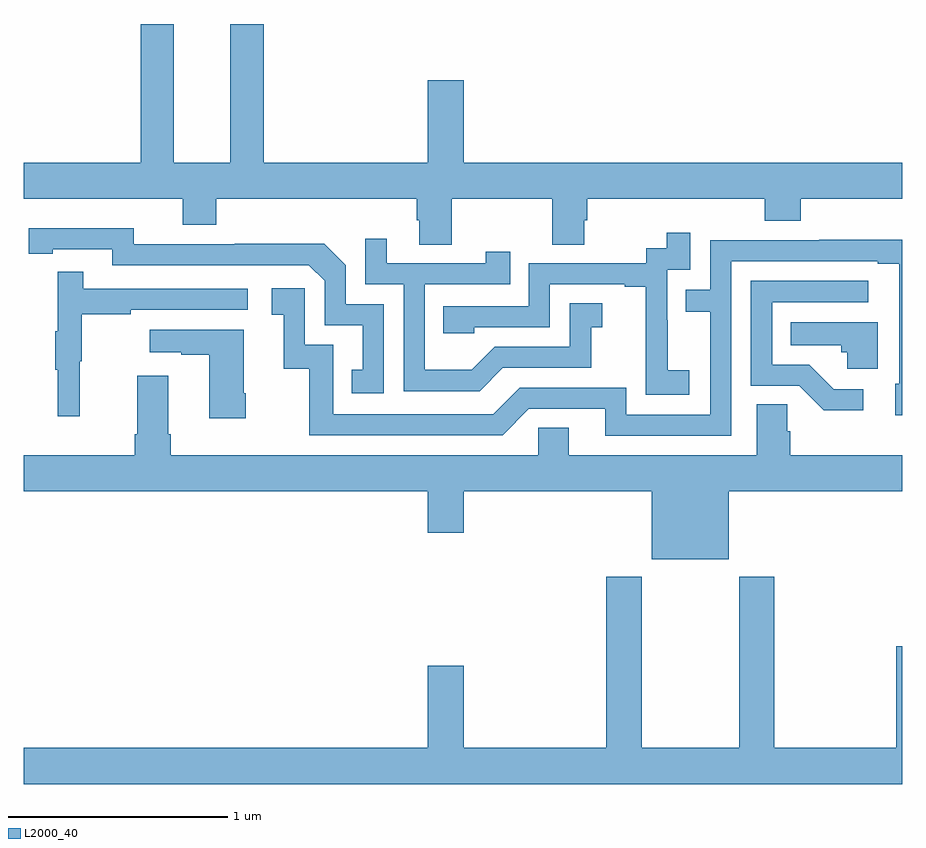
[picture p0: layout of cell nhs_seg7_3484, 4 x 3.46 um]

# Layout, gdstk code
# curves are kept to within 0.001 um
import gdstk
lib = gdstk.Library(unit=1e-6, precision=1e-09)
def P(c, l, *ps):  # polygons
    for p in ps: c.add(gdstk.Polygon(p, *l))
L2000_40 = (2000, 40)

nhs_seg7_3484 = lib.new_cell('nhs_seg7_3484')
P(nhs_seg7_3484, L2000_40, [(332.949,1079.204),(333.406,1079.204),(333.406,1078.996),(333.553,1078.996),(333.553,1079.106),(333.566,1079.106),(333.566,1079.204),(334.373,1079.204),(334.373,1079.105),(334.538,1079.105),(334.538,1079.204),(335,1079.204),(335,1079.368),(333.004,1079.368),(333.004,1079.743),(332.84,1079.743),(332.84,1079.368),(332.093,1079.368),(332.093,1080),(331.94,1080),(331.94,1079.368),(331.684,1079.368),(331.684,1080),(331.532,1080),(331.532,1079.368),(331,1079.368),(331,1079.204),(331.724,1079.204),(331.724,1079.087),(331.877,1079.087),(331.877,1079.204),(332.789,1079.204),(332.789,1079.106),(332.801,1079.106),(332.801,1078.996),(332.949,1078.996)],
  [(332.64,1078.725),(332.466,1078.725),(332.466,1078.902),(332.368,1079),(331.96,1079),(331.96,1078.998),(331.5,1078.998),(331.5,1079.071),(331.024,1079.07),(331.024,1078.954),(331.132,1078.954),(331.132,1078.974),(331.404,1078.974),(331.404,1078.902),(332.298,1078.902),(332.37,1078.83),(332.37,1078.629),(332.543,1078.629),(332.543,1078.425),(332.494,1078.425),(332.494,1078.32),(332.64,1078.32)],
  [(334.03,1078.423),(333.932,1078.423),(333.932,1078.652),(333.93,1078.652),(333.93,1078.881),(334.035,1078.881),(334.035,1079.05),(333.927,1079.05),(333.927,1078.98),(333.834,1078.98),(333.834,1078.911),(333.3,1078.911),(333.3,1078.716),(332.911,1078.716),(332.911,1078.593),(333.051,1078.593),(333.051,1078.62),(333.396,1078.62),(333.396,1078.815),(333.737,1078.815),(333.737,1078.803),(333.833,1078.803),(333.833,1078.519),(333.832,1078.519),(333.832,1078.313),(334.03,1078.313)],
  [(333.181,1078.434),(333.585,1078.434),(333.585,1078.619),(333.634,1078.619),(333.634,1078.729),(333.486,1078.729),(333.486,1078.53),(333.144,1078.53),(333.04,1078.426),(332.826,1078.426),(332.826,1078.815),(333.215,1078.815),(333.215,1078.963),(333.104,1078.963),(333.104,1078.911),(332.653,1078.911),(332.653,1079.023),(332.556,1079.023),(332.556,1078.815),(332.73,1078.815),(332.73,1078.329),(333.076,1078.329)],
  [(334.221,1078.92),(334.889,1078.92),(334.889,1078.908),(334.986,1078.908),(334.986,1078.362),(334.967,1078.362),(334.967,1078.218),(335,1078.218),(335,1079.018),(334.621,1079.018),(334.621,1079.016),(334.125,1079.016),(334.125,1078.791),(334.015,1078.791),(334.015,1078.69),(334.125,1078.69),(334.125,1078.221),(333.744,1078.221),(333.744,1078.344),(333.258,1078.344),(333.138,1078.224),(332.409,1078.224),(332.409,1078.539),(332.28,1078.539),(332.28,1078.798),(332.13,1078.798),(332.13,1078.677),(332.183,1078.677),(332.183,1078.431),(332.301,1078.431),(332.301,1078.128),(333.18,1078.128),(333.3,1078.248),(333.647,1078.248),(333.647,1078.125),(334.221,1078.125)],
  [(331.256,1078.464),(331.264,1078.464),(331.264,1078.678),(331.487,1078.678),(331.487,1078.698),(332.02,1078.698),(332.02,1078.794),(331.271,1078.794),(331.271,1078.873),(331.154,1078.873),(331.154,1078.601),(331.143,1078.601),(331.143,1078.427),(331.154,1078.427),(331.154,1078.215),(331.256,1078.215)],
  [(334.822,1078.338),(334.687,1078.338),(334.576,1078.449),(334.407,1078.449),(334.407,1078.734),(334.846,1078.734),(334.846,1078.83),(334.311,1078.83),(334.311,1078.353),(334.53,1078.353),(334.643,1078.241),(334.822,1078.241)],
  [(334.888,1078.642),(334.492,1078.642),(334.492,1078.538),(334.723,1078.538),(334.723,1078.506),(334.749,1078.506),(334.749,1078.43),(334.888,1078.43)],
  [(332.01,1078.318),(332.002,1078.318),(332.002,1078.609),(331.575,1078.609),(331.575,1078.505),(331.718,1078.505),(331.718,1078.495),(331.844,1078.495),(331.844,1078.206),(332.01,1078.206)],
  [(334.21,1077.872),(335,1077.872),(335,1078.036),(334.49,1078.036),(334.49,1078.145),(334.476,1078.145),(334.476,1078.268),(334.337,1078.268),(334.337,1078.036),(333.481,1078.036),(333.481,1078.163),(333.342,1078.163),(333.342,1078.036),(331.67,1078.036),(331.67,1078.132),(331.657,1078.132),(331.657,1078.399),(331.517,1078.399),(331.517,1078.132),(331.505,1078.132),(331.505,1078.036),(331,1078.036),(331,1077.872),(332.84,1077.872),(332.84,1077.684),(333.004,1077.684),(333.004,1077.872),(333.86,1077.872),(333.86,1077.563),(334.21,1077.563)],
  [(335,1077.166),(334.973,1077.166),(334.973,1076.704),(334.418,1076.704),(334.418,1077.484),(334.258,1077.484),(334.258,1076.704),(333.813,1076.704),(333.813,1077.484),(333.653,1077.484),(333.653,1076.704),(333.004,1076.704),(333.004,1077.079),(332.84,1077.079),(332.84,1076.704),(331,1076.704),(331,1076.54),(335,1076.54)])

lib.write_gds('nhs_seg7_3484.gds')
